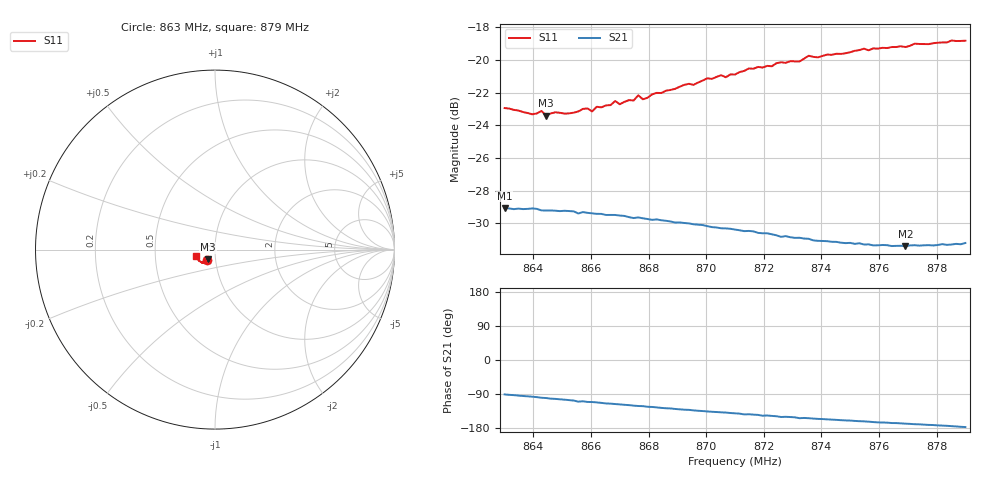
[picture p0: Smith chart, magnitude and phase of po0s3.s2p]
# HZ S RI R 50
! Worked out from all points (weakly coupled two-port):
!   101 points, 863 MHz to 879 MHz, reference 50 ohm
!   highest |S21| = -29.07 dB at 863 MHz (marker M1); lowest = -31.4 dB at 876.92 MHz (marker M2)
!   lowest |S11| = -23.4 dB at 864.44 MHz (marker M3), VSWR 1.14, Z = 46 - j5.09 ohm
!   |S11| at or under -10 dB: start of sweep to end of sweep
!   S12 and S22 are empty: the file has one direction only
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8.63e8  -0.0426 -0.0571  -0.000501 -0.0352  0 0  0 0
8.6396e8  -0.0379 -0.0567  -0.0042 -0.0349  0 0  0 0
8.6428e8  -0.0369 -0.0593  -0.00581 -0.0342  0 0  0 0
8.6444e8  -0.039 -0.0552  -0.00623 -0.0341  0 0  0 0
8.6572e8  -0.0357 -0.0612  -0.0111 -0.0324  0 0  0 0
8.6604e8  -0.0338 -0.0608  -0.0121 -0.0317  0 0  0 0
8.662e8  -0.0358 -0.0624  -0.0126 -0.0314  0 0  0 0
8.6668e8  -0.0356 -0.0635  -0.0142 -0.0304  0 0  0 0
8.6684e8  -0.0365 -0.0654  -0.0148 -0.0301  0 0  0 0
8.67e8  -0.0353 -0.0641  -0.0152 -0.0297  0 0  0 0
8.6748e8  -0.0346 -0.0667  -0.0166 -0.0283  0 0  0 0
8.6764e8  -0.0378 -0.0682  -0.0172 -0.0282  0 0  0 0
8.678e8  -0.0377 -0.0658  -0.0173 -0.0279  0 0  0 0
8.6844e8  -0.0386 -0.0692  -0.0192 -0.026  0 0  0 0
8.7004e8  -0.0474 -0.0741  -0.0222 -0.0217  0 0  0 0
8.71e8  -0.0523 -0.0736  -0.0234 -0.0192  0 0  0 0
8.7148e8  -0.0558 -0.0759  -0.024 -0.018  0 0  0 0
8.7372e8  -0.0718 -0.0728  -0.0253 -0.012  0 0  0 0
8.7644e8  -0.0932 -0.0577  -0.0262 -0.00636  0 0  0 0
8.7692e8  -0.0953 -0.054  -0.0263 -0.00561  0 0  0 0
8.7724e8  -0.099 -0.0529  -0.0267 -0.00497  0 0  0 0
8.79e8  -0.1086 -0.0364  -0.0275 -0.00143  0 0  0 0
